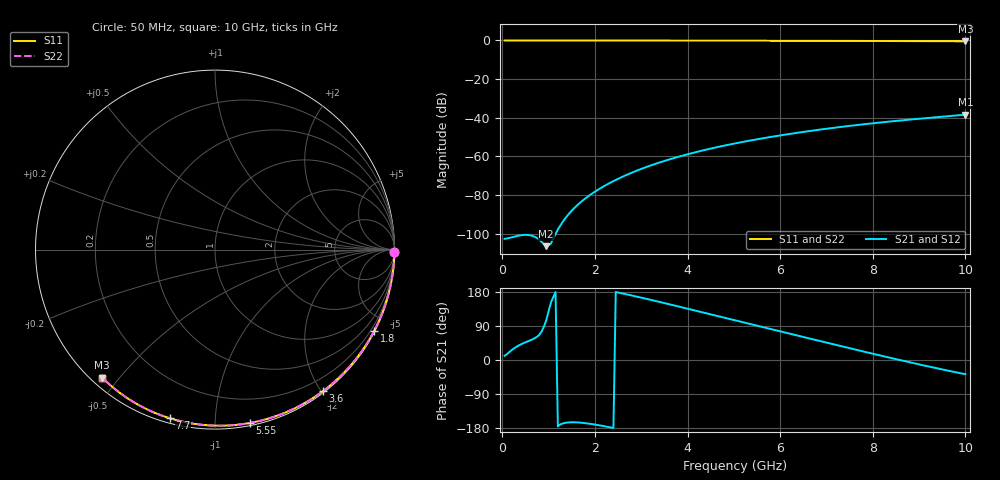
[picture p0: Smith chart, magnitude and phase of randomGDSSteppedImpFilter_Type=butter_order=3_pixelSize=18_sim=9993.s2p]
! freq	dB(S11)	phase(S11)	dB(S12)	phase(S12)
!  dB(S21)	phase(S21)	dB(S22)	phase(S22)
!S-par simulation data
#  GHz  S  DB  R 50
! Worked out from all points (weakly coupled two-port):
!   200 points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, 50 MHz to 10 GHz, reference 50 ohm
!   highest |S21| = -38.37 dB at 10 GHz (marker M1); lowest = -106.4 dB at 950 MHz (marker M2)
!   lowest |S11| = -0.4 dB at 10 GHz (marker M3), VSWR 39.57, Z = 1.52 - j22.6 ohm
!   |S11| at or under -10 dB: nowhere
!   |S22| runs from -0.4 to 0.0 dB; largest |S21 - S12| = 0
!   S11 on the Smith chart (normalised r, x): 50 MHz: open; 1.8 GHz: 0.04, -4.18; 3.6 GHz: 0.02, -2.02; 5.55 GHz: 0.02, -1.22; 7.7 GHz: 0.02, -0.77; 10 GHz: 0.03, -0.45
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0.05  -0.00 -0.8  -102.56 11.2  -102.56 11.2  -0.00 -0.8
0.5  -0.01 -7.6  -100.53 46.7  -100.53 46.7  -0.01 -7.6
0.95  -0.02 -14.3  -106.37 104.7  -106.37 104.7  -0.02 -14.3
1.75  -0.03 -26.2  -82.49 -166.1  -82.49 -166.1  -0.03 -26.2
1.8  -0.03 -26.9  -81.55 -166.8  -81.55 -166.8  -0.03 -26.9
1.9  -0.04 -28.4  -79.80 -168.5  -79.80 -168.5  -0.04 -28.4
2.05  -0.04 -30.6  -77.42 -171.4  -77.42 -171.4  -0.04 -30.6
2.25  -0.04 -33.5  -74.60 -175.8  -74.60 -175.8  -0.04 -33.5
2.45  -0.05 -36.4  -72.11 179.4  -72.11 179.4  -0.05 -36.4
2.65  -0.05 -39.3  -69.87 174.2  -69.87 174.2  -0.05 -39.3
3  -0.06 -44.2  -66.43 164.6  -66.43 164.6  -0.06 -44.2
3.4  -0.07 -49.9  -63.06 153.1  -63.06 153.1  -0.07 -49.9
3.6  -0.07 -52.7  -61.56 147.3  -61.56 147.3  -0.07 -52.7
4.3  -0.09 -62.2  -57.04 126.5  -57.04 126.5  -0.09 -62.2
5.05  -0.11 -72.2  -53.12 104.0  -53.12 104.0  -0.11 -72.2
5.55  -0.13 -78.6  -50.90 89.0  -50.90 89.0  -0.13 -78.6
6.1  -0.15 -85.6  -48.72 72.6  -48.72 72.6  -0.15 -85.6
6.7  -0.18 -93.0  -46.61 54.8  -46.61 54.8  -0.18 -93.0
7.7  -0.24 -105.0  -43.61 25.3  -43.61 25.3  -0.24 -105.0
8.35  -0.29 -112.6  -41.96 6.5  -41.96 6.5  -0.29 -112.6
9.15  -0.36 -121.8  -40.16 -15.6  -40.16 -15.6  -0.36 -121.8
10  -0.44 -131.4  -38.37 -37.6  -38.37 -37.6  -0.44 -131.4
